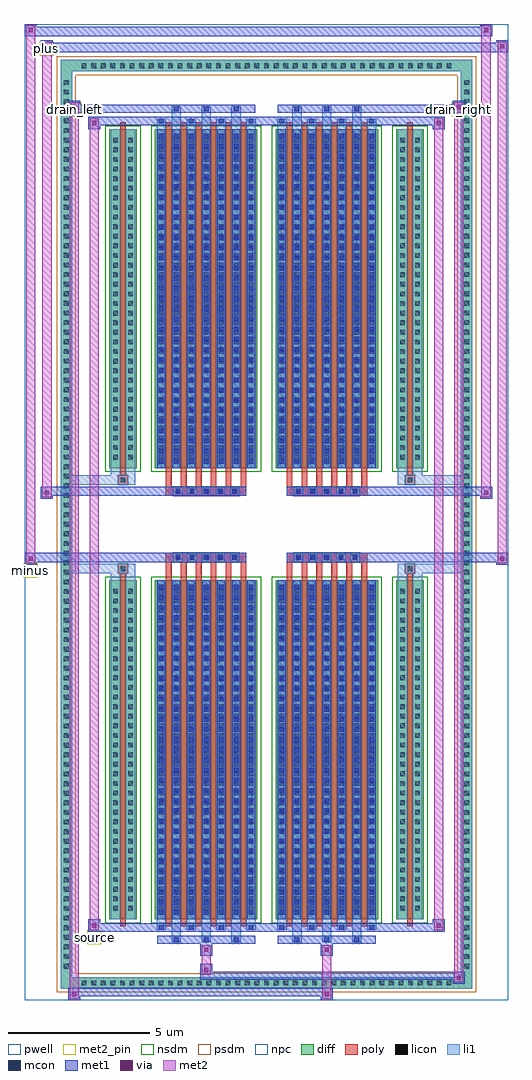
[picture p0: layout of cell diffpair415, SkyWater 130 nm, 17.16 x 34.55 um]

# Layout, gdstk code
import gdstk
lib = gdstk.Library(unit=1e-6, precision=5e-09)
def R(c, l, rs):  # rectangles x0, y0, x1, y1
    for r in rs: c.add(gdstk.rectangle(r[:2], r[2:], *l))
def A(c, l, x, y, w, h, nx, ny, dx, dy):  # array of equal rectangles
    R(c, l, [(x+i*dx, y+j*dy, x+i*dx+w, y+j*dy+h) for i in range(nx) for j in range(ny)])
def P(c, l, *ps):  # polygons
    for p in ps: c.add(gdstk.Polygon(p, *l))
pwell = (64, 44)
diff = (65, 20)
poly = (66, 20)
licon = (66, 44)
li1 = (67, 20)
mcon = (67, 44)
met1 = (68, 20)
via = (68, 44)
met2_pin = (69, 16)
met2 = (69, 20)
nsdm = (93, 44)
psdm = (94, 20)
npc = (95, 20)

diffpair415 = lib.new_cell('diffpair415')
R(diffpair415, pwell, [(-8.56,-16.84,8.56,17.71), (-5.88,-15.03,-0.01,-0.805), (0.01,-15.03,5.88,-0.805), (-5.88,0.805,-0.01,15.03), (0.01,0.805,5.88,15.03)])
A(diffpair415, diff, -6.665, -16.44, 0.41, 0.41, 39, 2, 0.34, 32.47)
A(diffpair415, diff, -7.29, -15.845, 0.41, 0.41, 1, 93, 0, 0.34)
A(diffpair415, diff, 6.88, -15.845, 0.41, 0.41, 1, 93, 0, 0.34)
R(diffpair415, diff, [(-6.665,-16.44,6.665,-16.03), (-7.29,-15.845,-6.88,15.845), (6.88,-15.845,7.29,15.845), (-5.57,-13.985,-4.59,-1.985), (-3.95,-13.985,-0.32,-1.985), (0.32,-13.985,3.95,-1.985), (4.59,-13.985,5.57,-1.985), (-5.57,1.985,-4.59,13.985), (-3.95,1.985,-0.32,13.985), (0.32,1.985,3.95,13.985), (4.59,1.985,5.57,13.985), (-6.665,16.03,6.665,16.44)])
P(diffpair415, diff, [(7.29,16.44),(-7.29,16.44),(-7.29,-16.03),(-6.88,-16.03),(-6.88,16.03),(6.88,16.03),(6.88,-16.03),(-6.88,-16.03),(-7.29,-16.03),(-7.29,-16.44),(7.29,-16.44)])
A(diffpair415, poly, -3.56, -14.235, 0.2, 12.5, 6, 2, 0.53, 15.97)
A(diffpair415, poly, 0.71, -14.235, 0.2, 12.5, 6, 2, 0.53, 15.97)
A(diffpair415, poly, -3.56, -1.735, 0.2, 0.4, 6, 2, 0.53, 3.07)
A(diffpair415, poly, 0.71, -1.735, 0.2, 0.4, 6, 2, 0.53, 3.07)
A(diffpair415, poly, -3.3, -1.335, 0.33, 0.33, 5, 2, 0.5, 2.34)
A(diffpair415, poly, 0.97, -1.335, 0.33, 0.33, 5, 2, 0.5, 2.34)
R(diffpair415, poly, [(-5.18,-14.235,-4.98,-1.735), (4.98,-14.235,5.18,-1.735), (-5.245,-1.735,-4.915,-1.405), (-5.245,-1.735,-4.915,-1.405), (4.915,-1.735,5.245,-1.405), (4.915,-1.735,5.245,-1.405), (-3.56,-1.335,-0.71,-1.005), (0.71,-1.335,3.56,-1.005), (-3.56,1.005,-0.71,1.335), (0.71,1.005,3.56,1.335), (-5.245,1.405,-4.915,1.735), (-5.245,1.405,-4.915,1.735), (4.915,1.405,5.245,1.735), (4.915,1.405,5.245,1.735), (-5.18,1.735,-4.98,14.235), (4.98,1.735,5.18,14.235)])
A(diffpair415, licon, -6.545, -16.32, 0.17, 0.17, 39, 2, 0.34, 32.47)
A(diffpair415, licon, -7.17, -15.725, 0.17, 0.17, 1, 93, 0, 0.34)
A(diffpair415, licon, 7, -15.725, 0.17, 0.17, 1, 93, 0, 0.34)
A(diffpair415, licon, -5.43, -13.68, 0.17, 0.17, 1, 34, 0, 0.34)
A(diffpair415, licon, -4.9, -13.68, 0.17, 0.17, 1, 34, 0, 0.34)
A(diffpair415, licon, -3.81, -13.68, 0.17, 0.17, 7, 34, 0.53, 0.34)
A(diffpair415, licon, 0.46, -13.68, 0.17, 0.17, 7, 34, 0.53, 0.34)
A(diffpair415, licon, 4.73, -13.68, 0.17, 0.17, 1, 34, 0, 0.34)
A(diffpair415, licon, 5.26, -13.68, 0.17, 0.17, 1, 34, 0, 0.34)
A(diffpair415, licon, -3.22, -1.255, 0.17, 0.17, 5, 2, 0.5, 2.34)
A(diffpair415, licon, 1.05, -1.255, 0.17, 0.17, 5, 2, 0.5, 2.34)
A(diffpair415, licon, -5.43, 2.29, 0.17, 0.17, 1, 34, 0, 0.34)
A(diffpair415, licon, -4.9, 2.29, 0.17, 0.17, 1, 34, 0, 0.34)
A(diffpair415, licon, -3.81, 2.29, 0.17, 0.17, 7, 34, 0.53, 0.34)
A(diffpair415, licon, 0.46, 2.29, 0.17, 0.17, 7, 34, 0.53, 0.34)
A(diffpair415, licon, 4.73, 2.29, 0.17, 0.17, 1, 34, 0, 0.34)
A(diffpair415, licon, 5.26, 2.29, 0.17, 0.17, 1, 34, 0, 0.34)
R(diffpair415, licon, [(-5.165,-1.655,-4.995,-1.485), (4.995,-1.655,5.165,-1.485), (-5.165,1.485,-4.995,1.655), (4.995,1.485,5.165,1.655)])
A(diffpair415, li1, -6.625, -16.4, 0.33, 0.33, 39, 2, 0.34, 32.47)
A(diffpair415, li1, -7.25, -15.805, 0.33, 0.33, 1, 93, 0, 0.34)
A(diffpair415, li1, 6.92, -15.805, 0.33, 0.33, 1, 93, 0, 0.34)
A(diffpair415, li1, -3.36, -14.79, 0.33, 0.805, 3, 2, 1.06, 28.775)
A(diffpair415, li1, -3.28, -14.79, 0.17, 0.17, 3, 2, 1.06, 29.41)
A(diffpair415, li1, 0.91, -14.79, 0.33, 0.805, 3, 2, 1.06, 28.775)
A(diffpair415, li1, 0.99, -14.79, 0.17, 0.17, 3, 2, 1.06, 29.41)
A(diffpair415, li1, -3.89, -14.36, 0.33, 0.375, 4, 2, 1.06, 28.345)
A(diffpair415, li1, -3.81, -14.36, 0.17, 0.17, 4, 2, 1.06, 28.55)
A(diffpair415, li1, 0.38, -14.36, 0.33, 0.375, 4, 2, 1.06, 28.345)
A(diffpair415, li1, 0.46, -14.36, 0.17, 0.17, 4, 2, 1.06, 28.55)
A(diffpair415, li1, -3.89, -13.985, 0.33, 12, 7, 2, 0.53, 15.97)
A(diffpair415, li1, 0.38, -13.985, 0.33, 12, 7, 2, 0.53, 15.97)
A(diffpair415, li1, -3.81, -13.83, 0.17, 0.17, 7, 33, 0.53, 0.36)
A(diffpair415, li1, -3.81, -13.83, 0.17, 11.69, 7, 2, 0.53, 15.97)
A(diffpair415, li1, 0.46, -13.83, 0.17, 0.17, 7, 33, 0.53, 0.36)
A(diffpair415, li1, 0.46, -13.83, 0.17, 11.69, 7, 2, 0.53, 15.97)
A(diffpair415, li1, -5.51, -13.76, 0.33, 0.33, 1, 34, 0, 0.34)
A(diffpair415, li1, -4.98, -13.76, 0.33, 0.33, 1, 34, 0, 0.34)
A(diffpair415, li1, -3.89, -13.76, 0.33, 0.33, 7, 34, 0.53, 0.34)
A(diffpair415, li1, 0.38, -13.76, 0.33, 0.33, 7, 34, 0.53, 0.34)
A(diffpair415, li1, 4.65, -13.76, 0.33, 0.33, 1, 34, 0, 0.34)
A(diffpair415, li1, 5.18, -13.76, 0.33, 0.33, 1, 34, 0, 0.34)
A(diffpair415, li1, -3.3, -1.335, 0.33, 0.33, 5, 2, 0.5, 2.34)
A(diffpair415, li1, 0.97, -1.335, 0.33, 0.33, 5, 2, 0.5, 2.34)
A(diffpair415, li1, -3.81, 2.14, 0.17, 0.17, 7, 33, 0.53, 0.36)
A(diffpair415, li1, 0.46, 2.14, 0.17, 0.17, 7, 33, 0.53, 0.36)
A(diffpair415, li1, -5.51, 2.21, 0.33, 0.33, 1, 34, 0, 0.34)
A(diffpair415, li1, -4.98, 2.21, 0.33, 0.33, 1, 34, 0, 0.34)
A(diffpair415, li1, -3.89, 2.21, 0.33, 0.33, 7, 34, 0.53, 0.34)
A(diffpair415, li1, 0.38, 2.21, 0.33, 0.33, 7, 34, 0.53, 0.34)
A(diffpair415, li1, 4.65, 2.21, 0.33, 0.33, 1, 34, 0, 0.34)
A(diffpair415, li1, 5.18, 2.21, 0.33, 0.33, 1, 34, 0, 0.34)
R(diffpair415, li1, [(-7.29,-16.44,-6.88,-16.03), (-7.29,-16.44,-6.88,-16.03), (-6.88,-16.44,6.88,-16.03), (6.88,-16.44,7.29,-16.03), (6.88,-16.44,7.29,-16.03), (-7.29,-16.03,-6.88,16.03), (6.88,-16.03,7.29,16.03), (-5.51,-13.985,-5.18,-1.985), (-4.98,-13.985,-4.65,-1.985), (4.65,-13.985,4.98,-1.985), (5.18,-13.985,5.51,-1.985), (-5.51,-1.985,-5.18,-1.405), (-4.98,-1.985,-4.65,-1.405), (4.65,-1.985,4.98,-1.405), (5.18,-1.985,5.51,-1.405), (-7.29,-1.735,-5.245,-1.405), (-5.51,-1.735,-5.245,-1.405), (-5.245,-1.735,-4.915,-1.405), (-4.915,-1.735,-4.65,-1.405), (4.65,-1.735,4.915,-1.405), (4.915,-1.735,5.245,-1.405), (4.915,-1.735,7.29,-1.405), (5.245,-1.735,5.51,-1.405), (-7.29,1.405,-5.245,1.735), (-5.51,1.405,-5.245,1.735), (-5.51,1.405,-5.18,1.985), (-5.245,1.405,-4.915,1.735), (-4.98,1.405,-4.65,1.985), (-4.915,1.405,-4.65,1.735), (4.65,1.405,4.915,1.735), (4.65,1.405,4.98,1.985), (4.915,1.405,5.245,1.735), (4.915,1.405,7.29,1.735), (5.18,1.405,5.51,1.985), (5.245,1.405,5.51,1.735), (-5.51,1.985,-5.18,13.985), (-4.98,1.985,-4.65,13.985), (4.65,1.985,4.98,13.985), (5.18,1.985,5.51,13.985), (-7.29,16.03,-6.88,16.44), (-7.29,16.03,-6.88,16.44), (-6.88,16.03,6.88,16.44), (6.88,16.03,7.29,16.44), (6.88,16.03,7.29,16.44)])
A(diffpair415, mcon, -3.28, -14.79, 0.17, 0.17, 3, 2, 1.06, 29.41)
A(diffpair415, mcon, 0.99, -14.79, 0.17, 0.17, 3, 2, 1.06, 29.41)
A(diffpair415, mcon, -3.81, -14.36, 0.17, 0.17, 4, 2, 1.06, 28.55)
A(diffpair415, mcon, 0.46, -14.36, 0.17, 0.17, 4, 2, 1.06, 28.55)
A(diffpair415, mcon, -3.81, -13.83, 0.17, 0.17, 7, 33, 0.53, 0.36)
A(diffpair415, mcon, 0.46, -13.83, 0.17, 0.17, 7, 33, 0.53, 0.36)
A(diffpair415, mcon, -3.22, -1.255, 0.17, 0.17, 5, 2, 0.5, 2.34)
A(diffpair415, mcon, 1.05, -1.255, 0.17, 0.17, 5, 2, 0.5, 2.34)
A(diffpair415, mcon, -3.81, 2.14, 0.17, 0.17, 7, 33, 0.53, 0.36)
A(diffpair415, mcon, 0.46, 2.14, 0.17, 0.17, 7, 33, 0.53, 0.36)
A(diffpair415, met1, -3.34, -14.85, 0.29, 0.29, 3, 2, 1.06, 29.41)
A(diffpair415, met1, 0.93, -14.85, 0.29, 0.29, 3, 2, 1.06, 29.41)
A(diffpair415, met1, -3.87, -14.42, 0.29, 0.29, 4, 2, 1.06, 28.55)
A(diffpair415, met1, 0.4, -14.42, 0.29, 0.29, 4, 2, 1.06, 28.55)
A(diffpair415, met1, -3.87, -13.985, 0.29, 12, 7, 2, 0.53, 15.97)
A(diffpair415, met1, 0.4, -13.985, 0.29, 12, 7, 2, 0.53, 15.97)
A(diffpair415, met1, -3.87, -13.89, 0.29, 0.29, 7, 33, 0.53, 0.36)
A(diffpair415, met1, 0.4, -13.89, 0.29, 0.29, 7, 33, 0.53, 0.36)
A(diffpair415, met1, -3.28, -1.315, 0.29, 0.29, 5, 2, 0.5, 2.34)
A(diffpair415, met1, 0.99, -1.315, 0.29, 0.29, 5, 2, 0.5, 2.34)
A(diffpair415, met1, -3.87, 2.08, 0.29, 0.29, 7, 33, 0.53, 0.36)
A(diffpair415, met1, 0.4, 2.08, 0.29, 0.29, 7, 33, 0.53, 0.36)
R(diffpair415, met1, [(-7.02,-16.84,-6.59,-16.41), (1.92,-16.84,2.35,-16.41), (-7.02,-16.7,2.35,-16.41), (6.59,-16.27,7.02,-15.84), (-2.35,-16.13,7.02,-15.84), (-2.35,-15.99,-1.92,-15.56), (-2.35,-15.28,-1.92,-14.85), (1.92,-15.28,2.35,-14.85), (-3.87,-14.85,-0.4,-14.56), (0.4,-14.85,3.87,-14.56), (-6.31,-14.42,-5.88,-13.99), (-6.31,-14.42,-3.87,-14.13), (-3.87,-14.42,-0.4,-14.13), (-0.4,-14.42,0.4,-14.13), (0.4,-14.42,3.87,-14.13), (3.87,-14.42,6.31,-14.13), (5.88,-14.42,6.31,-13.99), (-8.56,-1.435,-8.13,-1.005), (8.13,-1.435,8.56,-1.005), (-8.56,-1.335,-0.71,-1.005), (-3.56,-1.335,-0.71,-1.005), (0.71,-1.335,3.56,-1.005), (0.71,-1.335,8.56,-1.005), (-7.99,0.905,-7.56,1.335), (7.56,0.905,7.99,1.335), (-7.99,1.005,-3.56,1.335), (-3.56,1.005,-0.71,1.335), (0.71,1.005,3.56,1.335), (3.56,1.005,7.99,1.335), (-6.31,13.99,-5.88,14.42), (5.88,13.99,6.31,14.42), (-6.31,14.13,-3.87,14.42), (-3.87,14.13,-0.4,14.42), (-0.4,14.13,0.4,14.42), (0.4,14.13,3.87,14.42), (3.87,14.13,6.31,14.42), (-7.02,14.56,-6.59,14.99), (-7.02,14.56,-3.87,14.85), (-3.87,14.56,-0.4,14.85), (0.4,14.56,3.87,14.85), (3.87,14.56,7.02,14.85), (6.59,14.56,7.02,14.99), (-7.99,16.71,-7.56,17.14), (-7.99,16.71,-5.88,17.04), (-5.88,16.71,5.88,17.04), (5.88,16.71,8.56,17.04), (8.13,16.71,8.56,17.14), (-8.56,17.28,-8.13,17.71), (-8.56,17.28,-5.88,17.61), (-5.88,17.28,5.88,17.61), (5.88,17.28,7.99,17.61), (7.56,17.28,7.99,17.71)])
R(diffpair415, via, [(-6.88,-16.7,-6.73,-16.55), (2.06,-16.7,2.21,-16.55), (6.73,-16.13,6.88,-15.98), (-2.21,-15.85,-2.06,-15.7), (-2.21,-15.14,-2.06,-14.99), (2.06,-15.14,2.21,-14.99), (-6.17,-14.28,-6.02,-14.13), (6.02,-14.28,6.17,-14.13), (-8.42,-1.295,-8.27,-1.145), (8.27,-1.295,8.42,-1.145), (-7.85,1.045,-7.7,1.195), (7.7,1.045,7.85,1.195), (-6.17,14.13,-6.02,14.28), (6.02,14.13,6.17,14.28), (-6.88,14.7,-6.73,14.85), (6.73,14.7,6.88,14.85), (-7.85,16.85,-7.7,17), (8.27,16.85,8.42,17), (-8.42,17.42,-8.27,17.57), (7.7,17.42,7.85,17.57)])
R(diffpair415, met2_pin, [(-6.345,-14.87,-5.845,-14.37), (-8.595,-1.885,-8.095,-1.385), (-7.055,14.44,-6.555,14.94), (6.555,14.44,7.055,14.94), (-8.025,16.59,-7.525,17.09)])
R(diffpair415, met2, [(-6.97,-16.79,-6.64,-16.46), (-6.97,-16.79,-6.64,14.94), (1.97,-16.79,2.3,-16.46), (1.97,-16.46,2.3,-15.23), (6.64,-16.22,6.97,-15.89), (6.64,-16.22,6.97,14.94), (-2.3,-15.94,-1.97,-15.61), (-2.3,-15.61,-1.97,-15.23), (-2.3,-15.23,-1.97,-14.9), (1.97,-15.23,2.3,-14.9), (-6.26,-14.37,-5.93,-14.04), (-6.26,-14.37,-5.93,14.37), (5.93,-14.37,6.26,-14.04), (5.93,-14.37,6.26,14.37), (-8.51,-1.385,-8.18,-1.055), (-8.51,-1.385,-8.18,17.66), (8.18,-1.385,8.51,-1.055), (8.18,-1.385,8.51,17.09), (-7.94,0.955,-7.61,1.285), (-7.94,0.955,-7.61,17.09), (7.61,0.955,7.94,1.285), (7.61,0.955,7.94,17.66), (-6.26,14.04,-5.93,14.37), (5.93,14.04,6.26,14.37), (-6.97,14.61,-6.64,14.94), (6.64,14.61,6.97,14.94), (-7.94,16.76,-7.61,17.09), (8.18,16.76,8.51,17.09), (-8.51,17.33,-8.18,17.66), (7.61,17.33,7.94,17.66)])
P(diffpair415, met2, [(8.51,-1.385),(8.51,-1.385),(8.51,-1.055),(8.51,-1.055)],
  [(8.51,16.76),(8.51,16.76),(8.51,17.09),(8.51,17.09)],
  [(-8.18,-1.385),(-8.18,-1.385),(-8.18,-1.055),(-8.18,-1.055)],
  [(-8.18,17.33),(-8.18,17.33),(-8.18,17.66),(-8.18,17.66)],
  [(7.94,0.955),(7.94,0.955),(7.94,1.285),(7.94,1.285)],
  [(7.94,17.33),(7.94,17.33),(7.94,17.66),(7.94,17.66)],
  [(-7.61,0.955),(-7.61,0.955),(-7.61,1.285),(-7.61,1.285)],
  [(-7.61,16.76),(-7.61,16.76),(-7.61,17.09),(-7.61,17.09)],
  [(-6.64,-16.79),(-6.64,-16.79),(-6.64,-16.46),(-6.64,-16.46)],
  [(-6.64,14.61),(-6.64,14.61),(-6.64,14.94),(-6.64,14.94)],
  [(6.97,-16.22),(6.97,-16.22),(6.97,-15.89),(6.97,-15.89)],
  [(6.97,14.61),(6.97,14.61),(6.97,14.94),(6.97,14.94)],
  [(-5.93,-14.37),(-5.93,-14.37),(-5.93,-14.04),(-5.93,-14.04)],
  [(-5.93,14.04),(-5.93,14.04),(-5.93,14.37),(-5.93,14.37)],
  [(6.26,-14.37),(6.26,-14.37),(6.26,-14.04),(6.26,-14.04)],
  [(6.26,14.04),(6.26,14.04),(6.26,14.37),(6.26,14.37)])
R(diffpair415, nsdm, [(-5.7,-14.115,-4.46,-1.855), (-4.08,-14.115,-0.19,-1.855), (0.19,-14.115,4.08,-1.855), (4.46,-14.115,5.7,-1.855), (-5.7,1.855,-4.46,14.115), (-4.08,1.855,-0.19,14.115), (0.19,1.855,4.08,14.115), (4.46,1.855,5.7,14.115)])
P(diffpair415, psdm, [(7.42,16.57),(-7.42,16.57),(-7.42,-15.9),(-6.75,-15.9),(-6.75,15.9),(6.75,15.9),(6.75,-15.9),(-6.75,-15.9),(-7.42,-15.9),(-7.42,-16.57),(7.42,-16.57)])
A(diffpair415, npc, -3.32, -1.355, 0.37, 0.37, 5, 2, 0.5, 2.34)
A(diffpair415, npc, 0.95, -1.355, 0.37, 0.37, 5, 2, 0.5, 2.34)
R(diffpair415, npc, [(-5.265,-1.755,-4.895,-1.385), (4.895,-1.755,5.265,-1.385), (-3.32,-1.355,-2.45,-0.985), (-3.32,-1.355,-2.45,-0.985), (-2.82,-1.355,-1.95,-0.985), (-2.82,-1.355,-1.95,-0.985), (-2.32,-1.355,-1.45,-0.985), (-2.32,-1.355,-1.45,-0.985), (-1.82,-1.355,-0.95,-0.985), (-1.82,-1.355,-0.95,-0.985), (0.95,-1.355,1.82,-0.985), (0.95,-1.355,1.82,-0.985), (1.45,-1.355,2.32,-0.985), (1.45,-1.355,2.32,-0.985), (1.95,-1.355,2.82,-0.985), (1.95,-1.355,2.82,-0.985), (2.45,-1.355,3.32,-0.985), (2.45,-1.355,3.32,-0.985), (-3.32,0.985,-2.45,1.355), (-3.32,0.985,-2.45,1.355), (-2.82,0.985,-1.95,1.355), (-2.82,0.985,-1.95,1.355), (-2.32,0.985,-1.45,1.355), (-2.32,0.985,-1.45,1.355), (-1.82,0.985,-0.95,1.355), (-1.82,0.985,-0.95,1.355), (0.95,0.985,1.82,1.355), (0.95,0.985,1.82,1.355), (1.45,0.985,2.32,1.355), (1.45,0.985,2.32,1.355), (1.95,0.985,2.82,1.355), (1.95,0.985,2.82,1.355), (2.45,0.985,3.32,1.355), (2.45,0.985,3.32,1.355), (-5.265,1.385,-4.895,1.755), (4.895,1.385,5.265,1.755)])
diffpair415.add(gdstk.Label('minus', (-8.345,-1.635), layer=69, texttype=5))
diffpair415.add(gdstk.Label('drain_right', (6.805,14.69), layer=69, texttype=5))
diffpair415.add(gdstk.Label('drain_left', (-6.805,14.69), layer=69, texttype=5))
diffpair415.add(gdstk.Label('source', (-6.095,-14.62), layer=69, texttype=5))
diffpair415.add(gdstk.Label('plus', (-7.775,16.84), layer=69, texttype=5))

lib.write_gds('diffpair415.gds')
